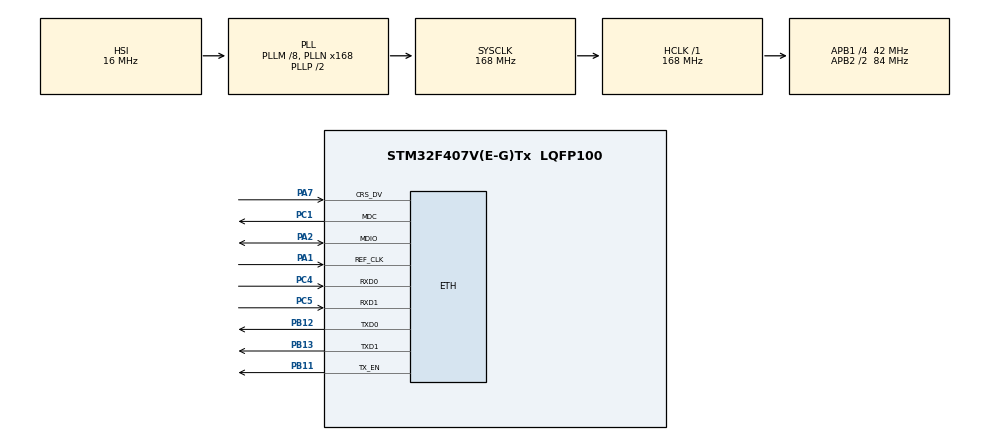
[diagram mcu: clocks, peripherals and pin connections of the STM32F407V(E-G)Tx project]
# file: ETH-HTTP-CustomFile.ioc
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ETH.AutoNegotiation=ETH_AUTONEGOTIATION_DISABLE
ETH.MediaInterface=ETH_MEDIA_INTERFACE_RMII
ETH.PHY_Name_RMII=DP83848_PHY_ADDRESS
LWIP.GATEWAY_ADDRESS=192.168.100.001
LWIP.IP_ADDRESS=192.168.100.200
LWIP.LWIP_DHCP=0
LWIP.LWIP_HTTPD=1
LWIP.LWIP_HTTPD_CGI=1
LWIP.LWIP_HTTPD_CUSTOM_FILES=1
LWIP.LWIP_HTTPD_DYNAMIC_FILE_READ=1
LWIP.LWIP_HTTPD_DYNAMIC_HEADERS=1
LWIP.LWIP_HTTPD_SSI=1
LWIP.MEM_SIZE=10240
LWIP.NETMASK_ADDRESS=255.255.255.000
LWIP.PBUF_POOL_BUFSIZE=1534
LWIP.TCP_MSS=1460
LWIP.Version=v2.1.2_Cube
Mcu.Family=STM32F4
Mcu.Name=STM32F407V(E-G)Tx
Mcu.Package=LQFP100
NVIC.PriorityGroup=NVIC_PRIORITYGROUP_4
PA1.Mode=RMII
PA1.Signal=ETH_REF_CLK
PA2.Mode=RMII
PA2.Signal=ETH_MDIO
PA7.Mode=RMII
PA7.Signal=ETH_CRS_DV
PB11.Mode=RMII
PB11.Signal=ETH_TX_EN
PB12.Mode=RMII
PB12.Signal=ETH_TXD0
PB13.Mode=RMII
PB13.Signal=ETH_TXD1
PC1.Mode=RMII
PC1.Signal=ETH_MDC
PC4.Mode=RMII
PC4.Signal=ETH_RXD0
PC5.Mode=RMII
PC5.Signal=ETH_RXD1
ProjectManager.HeapSize=0x200
ProjectManager.StackSize=0x400
ProjectManager.TargetToolchain=MDK-ARM V5.27
RCC.48MHZClocksFreq_Value=84000000
RCC.AHBFreq_Value=168000000
RCC.APB1CLKDivider=RCC_HCLK_DIV4
RCC.APB1Freq_Value=42000000
RCC.APB1TimFreq_Value=84000000
RCC.APB2CLKDivider=RCC_HCLK_DIV2
RCC.APB2Freq_Value=84000000
RCC.APB2TimFreq_Value=168000000
RCC.CortexFreq_Value=168000000
RCC.HCLKFreq_Value=168000000
RCC.HSE_VALUE=25000000
RCC.HSI_VALUE=16000000
RCC.LSE_VALUE=32768
RCC.PLLM=8
RCC.PLLN=168
RCC.SYSCLKFreq_VALUE=168000000
RCC.SYSCLKSource=RCC_SYSCLKSOURCE_PLLCLK
RCC.VCOOutputFreq_Value=336000000
VP_LWIP_VS_Enabled.Mode=Enabled
board=custom

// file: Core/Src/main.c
/* USER CODE BEGIN Header */
/**
  ******************************************************************************
  * @file           : main.c
  * @brief          : Main program body
  ******************************************************************************
  * @attention
  *
  * <h2><center>&copy; Copyright (c) 2024 STMicroelectronics.
  * All rights reserved.</center></h2>
  *
  * This software component is licensed by ST under Ultimate Liberty license
  * SLA0044, the "License"; You may not use this file except in compliance with
  * the License. You may obtain a copy of the License at:
  *                             www.st.com/SLA0044
  *
  ******************************************************************************
  */
/* USER CODE END Header */
#include "main.h"
#include "lwip.h"
#include "gpio.h"

/* USER CODE BEGIN Includes */
#include "lwip/apps/httpd.h"
#include "lwip/apps/fs.h"

#include <string.h>
#include <stdio.h>
/* USER CODE END Includes */

/* USER CODE BEGIN PV */
static uint8_t fileBuffer[1024] = {0};
/* USER CODE END PV */

void SystemClock_Config(void);

int main(void)
{

  /* MCU Configuration--------------------------------------------------------*/

  /* Reset of all peripherals, Initializes the Flash interface and the Systick. */
  HAL_Init();

  /* Configure the system clock */
  SystemClock_Config();

  /* Initialize all configured peripherals */
  MX_GPIO_Init();
  MX_LWIP_Init();
  /* USER CODE BEGIN 2 */
  httpd_init();
  /* USER CODE END 2 */

  /* Infinite loop */
  /* USER CODE BEGIN WHILE */
  while (1)
  {
    MX_LWIP_Process();
    /* USER CODE END WHILE */

  }
}

void SystemClock_Config(void)
{
  RCC_OscInitTypeDef RCC_OscInitStruct = {0};
  RCC_ClkInitTypeDef RCC_ClkInitStruct = {0};

  /** Configure the main internal regulator output voltage
  */
  __HAL_RCC_PWR_CLK_ENABLE();
  __HAL_PWR_VOLTAGESCALING_CONFIG(PWR_REGULATOR_VOLTAGE_SCALE1);
  /** Initializes the RCC Oscillators according to the specified parameters
  * in the RCC_OscInitTypeDef structure.
  */
  RCC_OscInitStruct.OscillatorType = RCC_OSCILLATORTYPE_HSI;
  RCC_OscInitStruct.HSIState = RCC_HSI_ON;
  RCC_OscInitStruct.HSICalibrationValue = RCC_HSICALIBRATION_DEFAULT;
  RCC_OscInitStruct.PLL.PLLState = RCC_PLL_ON;
  RCC_OscInitStruct.PLL.PLLSource = RCC_PLLSOURCE_HSI;
  RCC_OscInitStruct.PLL.PLLM = 8;
  RCC_OscInitStruct.PLL.PLLN = 168;
  RCC_OscInitStruct.PLL.PLLP = RCC_PLLP_DIV2;
  RCC_OscInitStruct.PLL.PLLQ = 4;
  if (HAL_RCC_OscConfig(&RCC_OscInitStruct) != HAL_OK)
  {
    Error_Handler();
  }
  /** Initializes the CPU, AHB and APB buses clocks
  */
  RCC_ClkInitStruct.ClockType = RCC_CLOCKTYPE_HCLK|RCC_CLOCKTYPE_SYSCLK
                              |RCC_CLOCKTYPE_PCLK1|RCC_CLOCKTYPE_PCLK2;
  RCC_ClkInitStruct.SYSCLKSource = RCC_SYSCLKSOURCE_PLLCLK;
  RCC_ClkInitStruct.AHBCLKDivider = RCC_SYSCLK_DIV1;
  RCC_ClkInitStruct.APB1CLKDivider = RCC_HCLK_DIV4;
  RCC_ClkInitStruct.APB2CLKDivider = RCC_HCLK_DIV2;

  if (HAL_RCC_ClockConfig(&RCC_ClkInitStruct, FLASH_LATENCY_5) != HAL_OK)
  {
    Error_Handler();
  }
}

/* USER CODE BEGIN 4 */
int fs_open_custom(struct fs_file *file, const char *name) {
  if (strcmp(name, "/timestamp.html") == 0) {
    file->len = snprintf((char*) fileBuffer, sizeof(fileBuffer) - 1, "%u", HAL_GetTick());
    file->data = (const char*) fileBuffer;
  #if LWIP_HTTPD_DYNAMIC_FILE_READ
    file->index = 0;
  #else
    file->index = file->len;
  #endif
    file->flags = 0;
    return 1;
  }
  else if (strcmp(name, "/version.html") == 0) {
    file->len = snprintf((char*) fileBuffer, sizeof(fileBuffer) - 1, "V%u.%u.%u",
      (HAL_GetHalVersion() >> 24) & 0xFF,
      (HAL_GetHalVersion() >> 16) & 0xFF,
      (HAL_GetHalVersion() >> 8)  & 0xFF
    );
    file->data = (const char*) fileBuffer;
  #if LWIP_HTTPD_DYNAMIC_FILE_READ
    file->index = 0;
  #else
    file->index = file->len;
  #endif
    file->flags = 0;
    return 1;
  }

  return 0;
}
void fs_close_custom(struct fs_file *file) {
  file->data = NULL;
  file->len = 0;
  file->index = 0;
  file->flags = 0;
  file->is_custom_file = 0;
}
int fs_read_custom(struct fs_file *file, char *buffer, int count) {
  int32_t bytesLeft = file->len - file->index;

  if (bytesLeft > 0) {
    if (bytesLeft > count) {
      bytesLeft = count;
    }

    memcpy(buffer, &file->data[file->index], bytesLeft);

    file->index += bytesLeft;
  }

  return (file->len - file->index) > 0 ? bytesLeft : FS_READ_EOF;
}
/* USER CODE END 4 */

void Error_Handler(void)
{
  __disable_irq();
  while (1)
  {
  }
}

/************************ (C) COPYRIGHT STMicroelectronics *****END OF FILE****/
